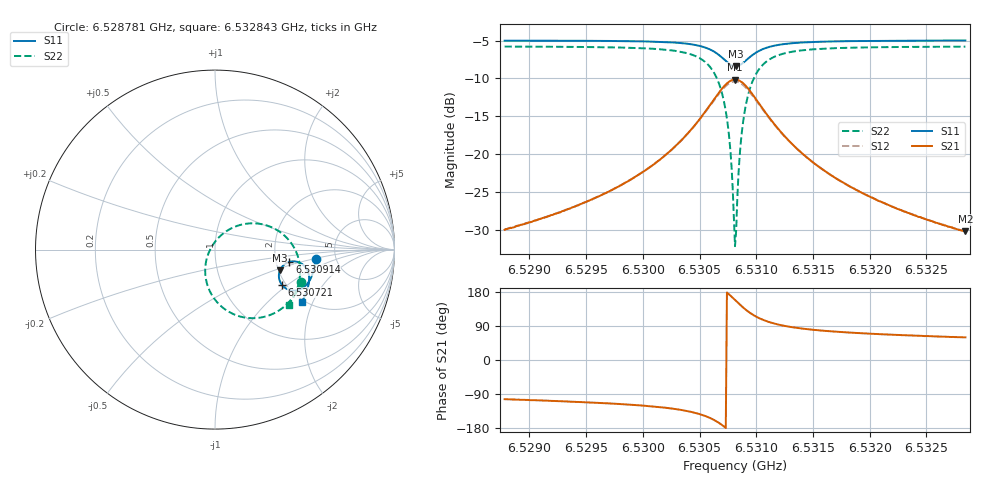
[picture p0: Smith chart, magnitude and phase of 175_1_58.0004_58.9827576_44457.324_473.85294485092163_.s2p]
#  HZ  S  RI  R  50.00
! Rohde & Schwarz Vector Network Analyzer
! Rohde-Schwarz,ZNB20-2Port,1311601062101988,3.16
! Created: UTC 3/21/2024, 12:58:05 AM
! freq[Hz]  re:S11  im:S11  re:S21  im:S21  re:S12  im:S12  re:S22  im:S22
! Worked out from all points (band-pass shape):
!   401 points, 6.528781 GHz to 6.532843 GHz, reference 50 ohm
!   highest |S21| = -10.14 dB at 6.530812 GHz (marker M1); lowest = -30.3 dB at 6.532843 GHz (marker M2)
!   |S21| within 3 dB of the highest: 6.530609 GHz to 6.531016 GHz (406.7 kHz wide, 0.00623 % of centre)
!   lowest |S11| = -8.4 dB at 6.530822 GHz (marker M3), VSWR 2.23, Z = 102 - j27.6 ohm
!   |S11| at or under -10 dB: nowhere
!   |S22| runs from -32.2 to -5.8 dB; largest |S21 - S12| = 0.013
!   S11 on the Smith chart (normalised r, x): 6.528781 GHz: 3.49, -0.52; 6.530721 GHz: 1.90, -0.90; 6.530914 GHz: 2.37, -0.39; 6.532843 GHz: 1.94, -1.66
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6.5287812e9  0.5603 -0.0509  -0.00732 -0.0307  -0.00805 -0.0306  0.4816 -0.1811
6.5294615e9  0.5512 -0.1082  -0.0168 -0.0438  -0.018 -0.0434  0.4494 -0.244
6.5298068e9  0.5416 -0.1404  -0.0276 -0.0557  -0.0291 -0.055  0.4197 -0.2838
6.5301419e9  0.5241 -0.177  -0.0509 -0.0751  -0.053 -0.0737  0.3656 -0.3328
6.5303755e9  0.4974 -0.2075  -0.0913 -0.095  -0.0941 -0.0917  0.2834 -0.372
6.5305481e9  0.4535 -0.2274  -0.1604 -0.1017  -0.1628 -0.0948  0.1555 -0.3764
6.5306496e9  0.4079 -0.2227  -0.2309 -0.075  -0.2303 -0.0649  0.0372 -0.3182
6.5307207e9  0.3722 -0.1952  -0.283 -0.0156  -0.2771 -0.00512  -0.0389 -0.208
6.5307613e9  0.3586 -0.167  -0.2992 0.0382  -0.2901 0.0466  -0.0548 -0.1159
6.530802e9  0.3571 -0.1331  -0.2944 0.0994  -0.2832 0.1044  -0.0347 -0.0164
6.5308121e9  0.359 -0.1246  -0.2893 0.1147  -0.278 0.1184  -0.0234 0.00729
6.5308223e9  0.3618 -0.1162  -0.2829 0.129  -0.2714 0.1318  -0.00997 0.0294
6.5308324e9  0.3655 -0.1083  -0.2751 0.1428  -0.2638 0.1445  0.00554 0.0505
6.5308629e9  0.3808 -0.0881  -0.2447 0.1775  -0.2346 0.1768  0.0619 0.1015
6.5308832e9  0.3935 -0.078  -0.2209 0.1946  -0.2118 0.1924  0.1042 0.1248
6.5309137e9  0.4141 -0.0685  -0.1837 0.2102  -0.1764 0.2071  0.1688 0.1434
6.5309847e9  0.4577 -0.0679  -0.1071 0.2123  -0.1034 0.2093  0.2971 0.1317
6.5310863e9  0.4961 -0.0894  -0.0413 0.1811  -0.0397 0.1794  0.4031 0.0625
6.5312386e9  0.5188 -0.1255  -0.00155 0.134  -0.000285 0.1333  0.4608 -0.0343
6.5314925e9  0.5248 -0.1691  0.0155 0.0875  0.0166 0.0873  0.4745 -0.1328
6.5321728e9  0.5081 -0.2406  0.0179 0.0421  0.0185 0.0419  0.4451 -0.2494
6.532843e9  0.4835 -0.2917  0.0155 0.0266  0.016 0.0263  0.4103 -0.3093
